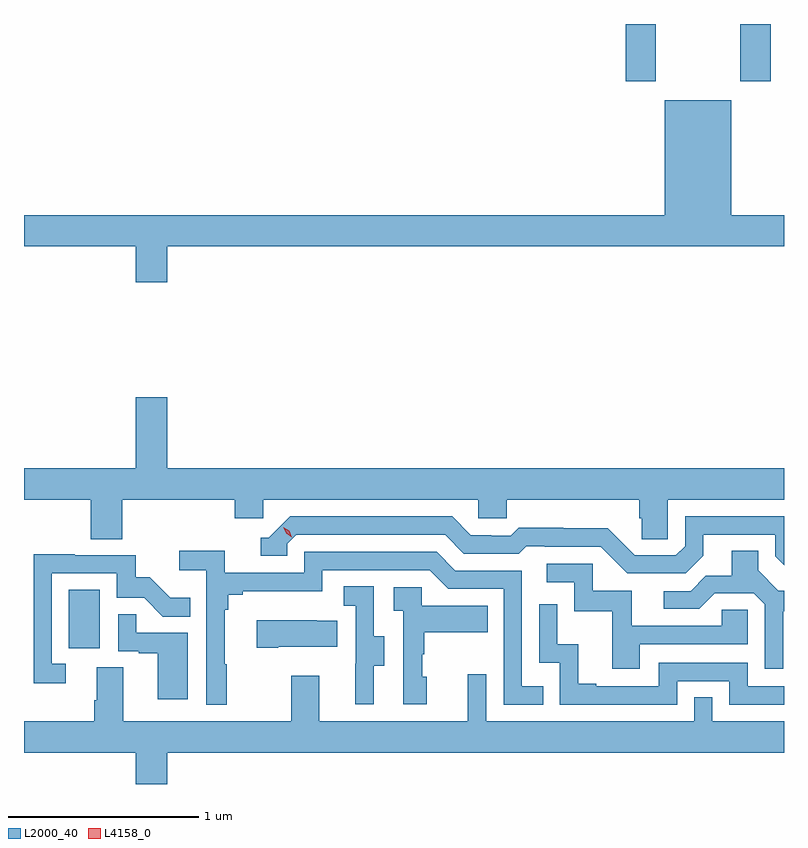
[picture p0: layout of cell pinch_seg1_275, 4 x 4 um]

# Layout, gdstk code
import gdstk
lib = gdstk.Library(unit=1e-6, precision=1e-09)
def R(c, l, rs):  # rectangles x0, y0, x1, y1
    for r in rs: c.add(gdstk.rectangle(r[:2], r[2:], *l))
def P(c, l, *ps):  # polygons
    for p in ps: c.add(gdstk.Polygon(p, *l))
L2000_40 = (2000, 40)
L4158_0 = (4158, 0)

pinch_seg1_275 = lib.new_cell('pinch_seg1_275')
R(pinch_seg1_275, L2000_40, [(931.886,550.95,932.05,551.257), (934.817,553.935,934.977,554.235), (935.422,553.935,935.582,554.235)])
P(pinch_seg1_275, L2000_40, [(932.404,553.064),(935.651,553.064),(935.651,553.228),(935.374,553.228),(935.374,553.834),(935.024,553.834),(935.024,553.228),(931.651,553.228),(931.651,553.064),(932.24,553.064),(932.24,552.876),(932.404,552.876)],
  [(932.168,551.732),(932.759,551.732),(932.759,551.634),(932.91,551.634),(932.91,551.732),(934.041,551.732),(934.041,551.634),(934.191,551.634),(934.191,551.732),(934.889,551.732),(934.889,551.634),(934.903,551.634),(934.903,551.524),(935.04,551.524),(935.04,551.732),(935.651,551.732),(935.651,551.896),(932.404,551.896),(932.404,552.271),(932.24,552.271),(932.24,551.896),(931.651,551.896),(931.651,551.732),(932.003,551.732),(932.003,551.524),(932.168,551.524)],
  [(935.227,551.437),(935.227,551.547),(935.604,551.547),(935.604,551.433),(935.651,551.386),(935.651,551.643),(935.13,551.643),(935.13,551.487),(935.082,551.439),(934.866,551.439),(934.724,551.581),(934.488,551.581),(934.488,551.584),(934.255,551.584),(934.213,551.541),(934.11,551.541),(934.11,551.544),(934.003,551.544),(933.904,551.643),(933.051,551.643),(932.94,551.532),(932.897,551.532),(932.897,551.436),(933.036,551.436),(933.036,551.499),(933.084,551.547),(933.867,551.547),(933.966,551.448),(934.255,551.448),(934.294,551.487),(934.393,551.487),(934.393,551.484),(934.686,551.484),(934.827,551.343),(935.133,551.343)],
  [(935.647,551.145),(935.651,551.145),(935.651,551.253),(935.622,551.253),(935.515,551.36),(935.515,551.462),(935.375,551.462),(935.375,551.33),(935.24,551.33),(935.16,551.25),(935.019,551.25),(935.019,551.157),(935.206,551.157),(935.287,551.238),(935.493,551.238),(935.55,551.181),(935.55,550.842),(935.647,550.842)],
  [(932.719,550.865),(932.707,550.865),(932.707,551.153),(932.726,551.153),(932.726,551.23),(932.803,551.23),(932.803,551.249),(933.222,551.249),(933.222,551.361),(933.786,551.361),(933.885,551.262),(934.176,551.262),(934.176,550.653),(934.385,550.653),(934.385,550.749),(934.272,550.749),(934.272,551.358),(933.922,551.358),(933.823,551.457),(933.126,551.457),(933.126,551.346),(932.708,551.346),(932.708,551.462),(932.469,551.462),(932.469,551.36),(932.61,551.36),(932.61,550.653),(932.719,550.653)],
  [(931.87,550.869),(931.797,550.869),(931.797,551.343),(932.139,551.343),(932.139,551.214),(932.283,551.214),(932.381,551.116),(932.525,551.116),(932.525,551.215),(932.421,551.215),(932.314,551.322),(932.238,551.322),(932.238,551.439),(931.919,551.439),(931.919,551.444),(931.701,551.444),(931.701,550.764),(931.87,550.764)],
  [(934.891,550.971),(935.46,550.971),(935.46,551.151),(935.323,551.151),(935.323,551.067),(934.849,551.067),(934.849,551.253),(934.644,551.253),(934.644,551.394),(934.401,551.394),(934.401,551.298),(934.548,551.298),(934.548,551.145),(934.747,551.145),(934.747,550.842),(934.891,550.842)],
  [(933.493,550.858),(933.547,550.858),(933.547,551.013),(933.492,551.013),(933.492,551.276),(933.333,551.276),(933.333,551.173),(933.396,551.173),(933.396,550.869),(933.395,550.869),(933.395,550.656),(933.493,550.656)],
  [(933.772,550.8),(933.747,550.8),(933.747,550.919),(933.757,550.919),(933.757,551.033),(934.091,551.033),(934.091,551.173),(933.744,551.173),(933.744,551.271),(933.597,551.271),(933.597,551.147),(933.648,551.147),(933.648,550.656),(933.772,550.656)],
  [(935.088,550.776),(935.364,550.776),(935.364,550.653),(935.651,550.653),(935.651,550.749),(935.46,550.749),(935.46,550.872),(934.992,550.872),(934.992,550.749),(934.663,550.749),(934.663,550.762),(934.568,550.762),(934.568,550.97),(934.458,550.97),(934.458,551.182),(934.362,551.182),(934.362,550.872),(934.47,550.872),(934.47,550.653),(935.088,550.653)],
  [(932.512,551.031),(932.243,551.031),(932.243,551.129),(932.148,551.129),(932.148,550.935),(932.255,550.935),(932.255,550.923),(932.354,550.923),(932.354,550.68),(932.512,550.68)],
  [(932.989,550.958),(933.299,550.958),(933.299,551.095),(933.191,551.095),(933.191,551.098),(932.877,551.098),(932.877,550.951),(932.989,550.951)],
  [(932.404,550.4),(935.651,550.4),(935.651,550.564),(935.274,550.564),(935.274,550.691),(935.178,550.691),(935.178,550.564),(934.083,550.564),(934.083,550.813),(933.986,550.813),(933.986,550.564),(933.205,550.564),(933.205,550.804),(933.058,550.804),(933.058,550.564),(932.173,550.564),(932.173,550.85),(932.033,550.85),(932.033,550.676),(932.021,550.676),(932.021,550.564),(931.651,550.564),(931.651,550.4),(932.24,550.4),(932.24,550.235),(932.404,550.235)])
P(pinch_seg1_275, L4158_0, [(933.061,551.534),(933.03,551.554),(933.015,551.587),(933.015,551.587),(933.015,551.587),(933.046,551.567),(933.061,551.534),(933.061,551.534)])

lib.write_gds('pinch_seg1_275.gds')
